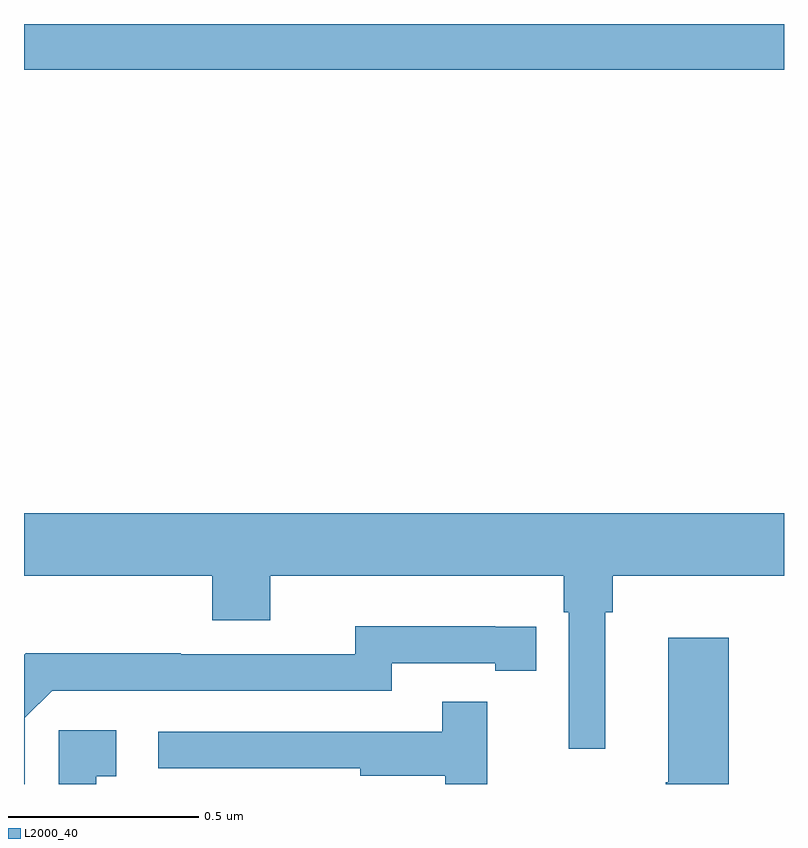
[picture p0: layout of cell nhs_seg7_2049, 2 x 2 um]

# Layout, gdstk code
import gdstk
lib = gdstk.Library(unit=1e-6, precision=1e-09)
def R(c, l, rs):  # rectangles x0, y0, x1, y1
    for r in rs: c.add(gdstk.rectangle(r[:2], r[2:], *l))
def P(c, l, *ps):  # polygons
    for p in ps: c.add(gdstk.Polygon(p, *l))
L2000_40 = (2000, 40)

nhs_seg7_2049 = lib.new_cell('nhs_seg7_2049')
R(nhs_seg7_2049, L2000_40, [(139,1069.88,141,1070)])
P(nhs_seg7_2049, L2000_40, [(140.53,1068.452),(140.549,1068.452),(140.549,1068.548),(141,1068.548),(141,1068.712),(139,1068.712),(139,1068.548),(139.496,1068.548),(139.496,1068.431),(139.648,1068.431),(139.648,1068.548),(140.42,1068.548),(140.42,1068.452),(140.433,1068.452),(140.433,1068.093),(140.53,1068.093)],
  [(139.002,1068.174),(139.074,1068.246),(139.968,1068.246),(139.968,1068.318),(140.24,1068.318),(140.24,1068.298),(140.348,1068.298),(140.348,1068.414),(140.24,1068.414),(140.24,1068.415),(139.872,1068.415),(139.872,1068.342),(139.412,1068.342),(139.412,1068.344),(139.004,1068.344),(139,1068.34),(139,1068),(139.002,1068)],
  [(140.855,1068.385),(140.696,1068.385),(140.696,1068.005),(140.689,1068.005),(140.689,1068),(140.855,1068)],
  [(140.219,1068.217),(140.101,1068.217),(140.101,1068.138),(139.353,1068.138),(139.353,1068.042),(139.885,1068.042),(139.885,1068.022),(140.109,1068.022),(140.109,1068),(140.219,1068)],
  [(139.19,1068.021),(139.243,1068.021),(139.243,1068.142),(139.092,1068.142),(139.092,1068),(139.19,1068)])

lib.write_gds('nhs_seg7_2049.gds')
